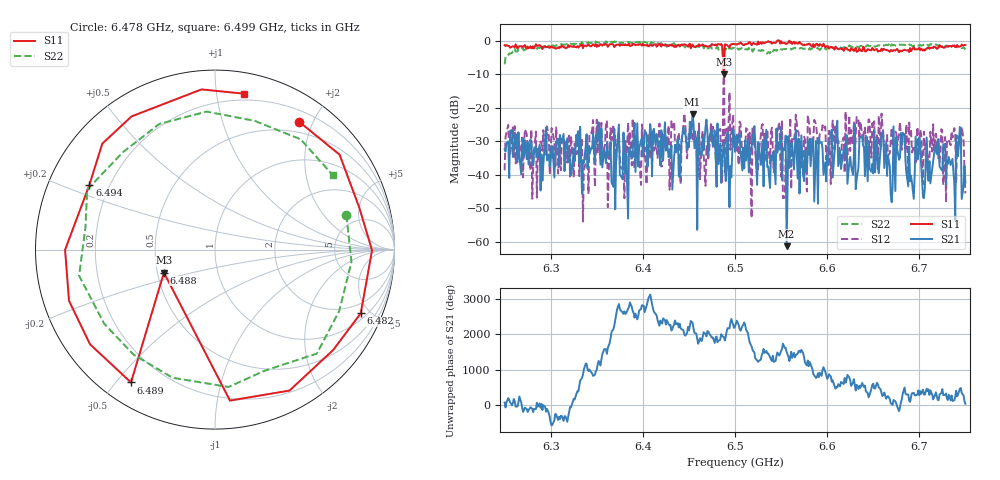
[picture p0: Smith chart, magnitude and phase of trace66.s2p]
# Hz S RI R 50
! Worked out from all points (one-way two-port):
!   401 points, 6.25 GHz to 6.75 GHz, reference 50 ohm
!   highest |S21| = -22.01 dB at 6.454 GHz (marker M1); lowest = -61.4 dB at 6.556 GHz (marker M2)
!   lowest |S11| = -10.1 dB at 6.488 GHz (marker M3), VSWR 1.91, Z = 27.1 - j7.71 ohm
!   |S11| at or under -10 dB: 6.487974 GHz to 6.488013 GHz (38.8 kHz wide, 0.000598 % of centre)
!   |S22| runs from -7.1 to -0.1 dB; largest |S21 - S12| = 0.69
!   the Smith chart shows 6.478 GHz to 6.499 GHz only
!   S11 on the Smith chart (normalised r, x): 6.478 GHz: 0.35, +1.81; 6.482 GHz: 1.33, -4.40; 6.488 GHz: 0.54, -0.15; 6.489 GHz: 0.09, -0.55; 6.494 GHz: 0.13, +0.24; 6.499 GHz: 0.15, +1.19
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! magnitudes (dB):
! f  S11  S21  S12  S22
! 6.25 GHz  -1.4  -32.5  -38.7  -7.1
! 6.334 GHz  -1.2  -45.7  -29.7  -0.5
! 6.352 GHz  -1.7  -24.4  -24.2  -0.6
! 6.378 GHz  -1.3  -41.4  -38.5  -0.8
! 6.418 GHz  -1.0  -34.1  -24.8  -1.0
! 6.454 GHz  -1.2  -22.0  -29.2  -1.8
! 6.478 GHz  -1.4  -26.8  -27.0  -2.4
! 6.482 GHz  -1.0  -36.9  -26.9  -2.7
! 6.488 GHz  -10.1  -30.2  -2.8  -2.6
! 6.489 GHz  -1.2  -37.3  -39.3  -2.3
! 6.494 GHz  -2.1  -49.7  -15.5  -2.3
! 6.499 GHz  -1.1  -28.2  -31.6  -2.2
! 6.5 GHz  -1.1  -33.2  -31.0  -2.5
! 6.556 GHz  -1.0  -61.4  -39.4  -2.5
! 6.584 GHz  -1.8  -29.3  -29.3  -2.3
! 6.661 GHz  -2.5  -28.5  -28.0  -1.5
! 6.668 GHz  -3.3  -37.6  -33.6  -0.8
! 6.681 GHz  -3.2  -30.9  -32.6  -1.2
! 6.692 GHz  -2.6  -42.3  -33.4  -1.6
! 6.699 GHz  -2.6  -33.8  -34.0  -1.6
! 6.744 GHz  -1.8  -25.8  -30.0  -1.7
! 6.75 GHz  -1.4  -42.4  -45.6  -2.6
